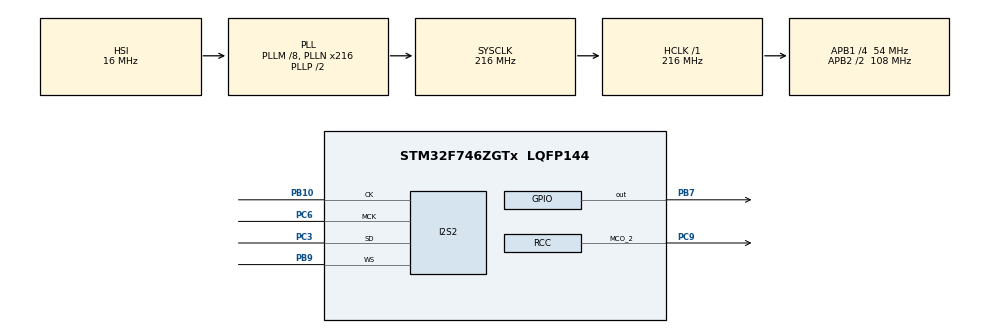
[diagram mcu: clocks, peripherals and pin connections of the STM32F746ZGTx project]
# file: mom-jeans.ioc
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CORTEX_M7.CPU_DCache=Disabled
CORTEX_M7.CPU_ICache=Disabled
CORTEX_M7.default_mode_Activation=1
Dma.Request0=SPI2_TX
Dma.SPI2_TX.0.Direction=DMA_MEMORY_TO_PERIPH
Dma.SPI2_TX.0.FIFOMode=DMA_FIFOMODE_DISABLE
Dma.SPI2_TX.0.Instance=DMA1_Stream4
Dma.SPI2_TX.0.MemDataAlignment=DMA_MDATAALIGN_HALFWORD
Dma.SPI2_TX.0.MemInc=DMA_MINC_ENABLE
Dma.SPI2_TX.0.Mode=DMA_CIRCULAR
Dma.SPI2_TX.0.PeriphDataAlignment=DMA_PDATAALIGN_HALFWORD
Dma.SPI2_TX.0.PeriphInc=DMA_PINC_DISABLE
Dma.SPI2_TX.0.Priority=DMA_PRIORITY_VERY_HIGH
I2S2.AudioFreq=I2S_AUDIOFREQ_22K
I2S2.DataFormat=I2S_DATAFORMAT_16B_EXTENDED
I2S2.ErrorAudioFreq=-0.38 %
I2S2.FullDuplexMode=I2S_FULLDUPLEXMODE_DISABLE
I2S2.Instance=SPI$Index
I2S2.RealAudioFreq=21.915 KHz
I2S2.VirtualMode=I2S_MODE_MASTER
Mcu.Family=STM32F7
Mcu.Name=STM32F746ZGTx
Mcu.Package=LQFP144
NVIC.DMA1_Stream4_IRQn=true\:0\:0\:false\:false\:true\:false\:true\:true
NVIC.PriorityGroup=NVIC_PRIORITYGROUP_4
PB10.Mode=Half_Duplex_Master
PB10.Signal=I2S2_CK
PB7.Signal=GPIO_Output
PB9.Mode=Half_Duplex_Master
PB9.Signal=I2S2_WS
PC3.Mode=Half_Duplex_Master
PC3.Signal=I2S2_SD
PC6.Mode=Master_Clock_Activated
PC6.Signal=I2S2_MCK
PC9.Mode=Clock-out-2
PC9.Signal=RCC_MCO_2
ProjectManager.HeapSize=0x200
ProjectManager.StackSize=0x400
ProjectManager.TargetToolchain=CMake
RCC.AHBFreq_Value=216000000
RCC.APB1CLKDivider=RCC_HCLK_DIV4
RCC.APB1Freq_Value=54000000
RCC.APB1TimFreq_Value=108000000
RCC.APB2CLKDivider=RCC_HCLK_DIV2
RCC.APB2Freq_Value=108000000
RCC.APB2TimFreq_Value=216000000
RCC.CortexFreq_Value=216000000
RCC.HCLKFreq_Value=216000000
RCC.HSE_VALUE=25000000
RCC.HSI_VALUE=16000000
RCC.LSE_VALUE=32768
RCC.PLLI2SN=216
RCC.PLLI2SR=7
RCC.PLLM=8
RCC.PLLN=216
RCC.RCC_MCO2Source=RCC_MCO2SOURCE_PLLI2SCLK
RCC.SYSCLKFreq_VALUE=216000000
RCC.SYSCLKSource=RCC_SYSCLKSOURCE_PLLCLK
RCC.USBFreq_Value=216000000
RCC.VCOOutputFreq_Value=432000000
board=custom

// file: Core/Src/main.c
/* USER CODE BEGIN Header */
/**
 ******************************************************************************
 * @file           : main.c
 * @brief          : Main program body
 ******************************************************************************
 * @attention
 *
 * Copyright (c) 2024 STMicroelectronics.
 * All rights reserved.
 *
 * This software is licensed under terms that can be found in the LICENSE file
 * in the root directory of this software component.
 * If no LICENSE file comes with this software, it is provided AS-IS.
 *
 ******************************************************************************
 */
/* USER CODE END Header */
#include "main.h"

/* USER CODE BEGIN Includes */
#include "math.h"
#include "pulsar.h"
/* USER CODE END Includes */

/* USER CODE BEGIN PD */
#define BUFFER_SIZE 1024
#define SAMPLE_RATE 48214
#define LED_PIN GPIO_PIN_7
#define LED_GPIO_PORT GPIOB
/* USER CODE END PD */

I2S_HandleTypeDef hi2s2;
DMA_HandleTypeDef hdma_spi2_tx;

/* USER CODE BEGIN PV */
__attribute__((aligned(32))) int16_t audioBuffer[BUFFER_SIZE];
volatile uint8_t halfBufferReady = 0;  // Flag for half buffer completion
volatile uint8_t fullBufferReady = 0;  // Flag for full buffer completion
volatile uint32_t readCounter = 0;
volatile uint32_t writeCounter = 0;
float phase = 0;
float frequency = 200;
ps_t pulsar;
/* USER CODE END PV */

void SystemClock_Config(void);
void PeriphCommonClock_Config(void);
static void MPU_Config(void);
static void MX_GPIO_Init(void);
static void MX_DMA_Init(void);
static void MX_I2S2_Init(void);
/* USER CODE BEGIN PFP */
void enableCycleCounter();
uint32_t getCycleCount();
void fillNoise(int16_t *buffer, int size);
float fillSine(int16_t *buffer, int size, float freq, float phase,
               float sr); // returns the phase for the next call
/* USER CODE END PFP */

int main(void)
{

  /* MPU Configuration--------------------------------------------------------*/
  MPU_Config();

  /* MCU Configuration--------------------------------------------------------*/

  /* Reset of all peripherals, Initializes the Flash interface and the Systick. */
  HAL_Init();

  /* USER CODE BEGIN Init */
  pulsar_init(&pulsar, SAMPLE_RATE);
  /* USER CODE END Init */

  /* Configure the system clock */
  SystemClock_Config();

  /* Configure the peripherals common clocks */
  PeriphCommonClock_Config();

  /* USER CODE BEGIN SysInit */
  // enableCycleCounter();
  /* USER CODE END SysInit */

  /* Initialize all configured peripherals */
  MX_GPIO_Init();
  MX_DMA_Init();
  MX_I2S2_Init();
  /* USER CODE BEGIN 2 */

  HAL_StatusTypeDef status = HAL_I2S_Transmit_DMA(&hi2s2, audioBuffer, BUFFER_SIZE);

  /* USER CODE END 2 */

  /* Infinite loop */
  /* USER CODE BEGIN WHILE */
  float scaleFactor = (1.0 / 256.0) * 32768;

DWT->CYCCNT = 0;  // Reset the cycle counter
uint32_t number1 = 100;
uint32_t number2 = 100;
uint32_t number3 = number1 + number2;  // Perform addition
uint32_t elapsed_cycles = DWT->CYCCNT;  // Read elapsed cycles
printf("Elapsed cycles: %lu\n", elapsed_cycles);

  while (1) {

    if (halfBufferReady) {

      pulsar_configure(&pulsar, 400, 0.8, 5.0, 0.0, 0, 0, 0);
      for (int i = 0; i < BUFFER_SIZE / 2; i+=2) {
        // DWT->CYCCNT = 0;  // Reset the cycle counter
        audioBuffer[i] = scaleFactor * pulsar_process(&pulsar, 400, 0);
        audioBuffer[i + 1] = audioBuffer[i];
        // uint32_t endCycles = DWT->CYCCNT;
        // printf("Cycles: %lu\n", endCycles);
      }

      halfBufferReady = 0;
      // SCB_CleanDCache_by_Addr((uint32_t *)audioBuffer, (BUFFER_SIZE / 2) * sizeof(uint16_t));
      writeCounter++;
    }

    if (fullBufferReady) {
      pulsar_configure(&pulsar, 400, 0.8, 5.0, 0.0, 0, 0, 0);
      for (int i = BUFFER_SIZE / 2; i < BUFFER_SIZE; i+=2) {
        audioBuffer[i] = scaleFactor * pulsar_process(&pulsar, 400, 0);
        audioBuffer[i + 1] = audioBuffer[i];
      }
      // SCB_CleanDCache_by_Addr((uint32_t *) &audioBuffer[BUFFER_SIZE / 2], (BUFFER_SIZE / 2) * sizeof(uint16_t));
      fullBufferReady = 0;
    }

    // turn on the LED if the write counter falls behind the read counter
    if (readCounter - writeCounter > 1) {
      HAL_GPIO_WritePin(LED_GPIO_PORT, LED_PIN, GPIO_PIN_SET);
    } else {
      HAL_GPIO_WritePin(LED_GPIO_PORT, LED_PIN, GPIO_PIN_RESET);
    }

    /* USER CODE END WHILE */

  }
}

void SystemClock_Config(void)
{
  RCC_OscInitTypeDef RCC_OscInitStruct = {0};
  RCC_ClkInitTypeDef RCC_ClkInitStruct = {0};

  /** Configure the main internal regulator output voltage
  */
  __HAL_RCC_PWR_CLK_ENABLE();
  __HAL_PWR_VOLTAGESCALING_CONFIG(PWR_REGULATOR_VOLTAGE_SCALE1);

  /** Initializes the RCC Oscillators according to the specified parameters
  * in the RCC_OscInitTypeDef structure.
  */
  RCC_OscInitStruct.OscillatorType = RCC_OSCILLATORTYPE_HSI;
  RCC_OscInitStruct.HSIState = RCC_HSI_ON;
  RCC_OscInitStruct.HSICalibrationValue = RCC_HSICALIBRATION_DEFAULT;
  RCC_OscInitStruct.PLL.PLLState = RCC_PLL_ON;
  RCC_OscInitStruct.PLL.PLLSource = RCC_PLLSOURCE_HSI;
  RCC_OscInitStruct.PLL.PLLM = 8;
  RCC_OscInitStruct.PLL.PLLN = 216;
  RCC_OscInitStruct.PLL.PLLP = RCC_PLLP_DIV2;
  RCC_OscInitStruct.PLL.PLLQ = 2;
  if (HAL_RCC_OscConfig(&RCC_OscInitStruct) != HAL_OK)
  {
    Error_Handler();
  }

  /** Activate the Over-Drive mode
  */
  if (HAL_PWREx_EnableOverDrive() != HAL_OK)
  {
    Error_Handler();
  }

  /** Initializes the CPU, AHB and APB buses clocks
  */
  RCC_ClkInitStruct.ClockType = RCC_CLOCKTYPE_HCLK|RCC_CLOCKTYPE_SYSCLK
                              |RCC_CLOCKTYPE_PCLK1|RCC_CLOCKTYPE_PCLK2;
  RCC_ClkInitStruct.SYSCLKSource = RCC_SYSCLKSOURCE_PLLCLK;
  RCC_ClkInitStruct.AHBCLKDivider = RCC_SYSCLK_DIV1;
  RCC_ClkInitStruct.APB1CLKDivider = RCC_HCLK_DIV4;
  RCC_ClkInitStruct.APB2CLKDivider = RCC_HCLK_DIV2;

  if (HAL_RCC_ClockConfig(&RCC_ClkInitStruct, FLASH_LATENCY_7) != HAL_OK)
  {
    Error_Handler();
  }
  HAL_RCC_MCOConfig(RCC_MCO2, RCC_MCO2SOURCE_PLLI2SCLK, RCC_MCODIV_1);
}

void PeriphCommonClock_Config(void)
{
  RCC_PeriphCLKInitTypeDef PeriphClkInitStruct = {0};

  /** Initializes the peripherals clock
  */
  PeriphClkInitStruct.PeriphClockSelection = RCC_PERIPHCLK_PLLI2S|RCC_PERIPHCLK_I2S;
  PeriphClkInitStruct.PLLI2S.PLLI2SN = 216;
  PeriphClkInitStruct.PLLI2S.PLLI2SP = RCC_PLLP_DIV2;
  PeriphClkInitStruct.PLLI2S.PLLI2SR = 7;
  PeriphClkInitStruct.PLLI2S.PLLI2SQ = 2;
  PeriphClkInitStruct.PLLI2SDivQ = 1;
  PeriphClkInitStruct.I2sClockSelection = RCC_I2SCLKSOURCE_PLLI2S;
  if (HAL_RCCEx_PeriphCLKConfig(&PeriphClkInitStruct) != HAL_OK)
  {
    Error_Handler();
  }
}

static void MX_I2S2_Init(void)
{

  hi2s2.Instance = SPI2;
  hi2s2.Init.Mode = I2S_MODE_MASTER_TX;
  hi2s2.Init.Standard = I2S_STANDARD_PHILIPS;
  hi2s2.Init.DataFormat = I2S_DATAFORMAT_16B_EXTENDED;
  hi2s2.Init.MCLKOutput = I2S_MCLKOUTPUT_ENABLE;
  hi2s2.Init.AudioFreq = I2S_AUDIOFREQ_22K;
  hi2s2.Init.CPOL = I2S_CPOL_LOW;
  hi2s2.Init.ClockSource = I2S_CLOCK_PLL;
  if (HAL_I2S_Init(&hi2s2) != HAL_OK)
  {
    Error_Handler();
  }
  /* USER CODE BEGIN I2S2_Init 2 */

  // __HAL_LINKDMA(&hi2s2, hdmatx, hdma_spi2_tx);

  /* USER CODE END I2S2_Init 2 */

}

static void MX_DMA_Init(void)
{

  /* DMA controller clock enable */
  __HAL_RCC_DMA1_CLK_ENABLE();

  /* DMA interrupt init */
  /* DMA1_Stream4_IRQn interrupt configuration */
  HAL_NVIC_SetPriority(DMA1_Stream4_IRQn, 0, 0);
  HAL_NVIC_EnableIRQ(DMA1_Stream4_IRQn);

}

static void MX_GPIO_Init(void)
{
  GPIO_InitTypeDef GPIO_InitStruct = {0};

  /* GPIO Ports Clock Enable */
  __HAL_RCC_GPIOC_CLK_ENABLE();
  __HAL_RCC_GPIOB_CLK_ENABLE();

  /*Configure GPIO pin Output Level */
  HAL_GPIO_WritePin(GPIOB, GPIO_PIN_7, GPIO_PIN_RESET);

  /*Configure GPIO pin : PC9 */
  GPIO_InitStruct.Pin = GPIO_PIN_9;
  GPIO_InitStruct.Mode = GPIO_MODE_AF_PP;
  GPIO_InitStruct.Pull = GPIO_NOPULL;
  GPIO_InitStruct.Speed = GPIO_SPEED_FREQ_LOW;
  GPIO_InitStruct.Alternate = GPIO_AF0_MCO;
  HAL_GPIO_Init(GPIOC, &GPIO_InitStruct);

  /*Configure GPIO pin : PB7 */
  GPIO_InitStruct.Pin = GPIO_PIN_7;
  GPIO_InitStruct.Mode = GPIO_MODE_OUTPUT_PP;
  GPIO_InitStruct.Pull = GPIO_NOPULL;
  GPIO_InitStruct.Speed = GPIO_SPEED_FREQ_LOW;
  HAL_GPIO_Init(GPIOB, &GPIO_InitStruct);

}

/* USER CODE BEGIN 4 */
void enableCycleCounter() {
    // // Enable the DWT unit
    // if (!(CoreDebug->DEMCR & CoreDebug_DEMCR_TRCENA_Msk)) {
    //     CoreDebug->DEMCR |= CoreDebug_DEMCR_TRCENA_Msk; // Enable trace and debug block
    // }

    // // Reset and enable the cycle counter
    // DWT->CYCCNT = 0;               // Reset the cycle counter
    // DWT->CTRL |= DWT_CTRL_CYCCNTENA_Msk; // Enable the cycle counter

    CoreDebug->DEMCR &= ~0x01000000;

    CoreDebug->DEMCR |=  0x01000000; // TRCENA

    DWT->LAR = 0xC5ACCE55; // unlock

    DWT->CYCCNT = 0; // reset the counter

    DWT->CTRL &= ~0x00000001;

    DWT->CTRL |=  0x00000001; // enable the counter
}

uint32_t getCycleCount() {
    return DWT->CYCCNT; // Return the current cycle count
}

void fillNoise(int16_t *buffer, int size) {}

float fillSine(int16_t *buffer, int size, float freq, float phase, float sr) {
  static float twopi = 2 * 3.14159;
  static float scaleFactor = (1.0 / 64.0) * 32768;
  float phaseIncrement = twopi * freq / sr;
  for (int i = 0; i < size; i += 2) {
    buffer[i] = scaleFactor * arm_sin_f32(phase);
    // buffer[i] = scaleFactor * sinf(phase);
    // arm_sin_f32(phase, &buffer[i]);
    buffer[i + 1] = buffer[i];
    phase += phaseIncrement;
  }

  if (phase > twopi) {
    phase -= twopi;
  }

  return phase;
}
// Callback for Half Transfer Complete
void HAL_I2S_TxHalfCpltCallback(I2S_HandleTypeDef *hi2s) {
  if (hi2s->Instance==SPI2) {
    halfBufferReady = 1;
    // SCB_InvalidateDCache_by_Addr((uint32_t *)audioBuffer, (BUFFER_SIZE / 2) * sizeof(uint16_t));
    readCounter++;
  }
  // audioBufferPtr = audioBuffer;
  // phase = fillSine(audioBufferPtr, BUFFER_SIZE / 2, 2000, phase, SAMPLE_RATE);
  // dataReady = 1;
}

// Callback for Full Transfer Complete
void HAL_I2S_TxCpltCallback(I2S_HandleTypeDef *hi2s) {
  if (hi2s->Instance==SPI2) {
    // SCB_InvalidateDCache_by_Addr((uint32_t *) &audioBuffer[BUFFER_SIZE / 2], (BUFFER_SIZE / 2) * sizeof(uint16_t));
    fullBufferReady = 1;
  }
  // audioBufferPtr = audioBuffer + BUFFER_SIZE / 2;
  // audioBufferPtr = audioBuffer;
  // phase = fillSine(audioBufferPtr, BUFFER_SIZE / 2, 2000, phase, SAMPLE_RATE);
  // dataReady = 1;
}

void HAL_I2S_ErrorCallback(I2S_HandleTypeDef *hi2s)
{
    uint32_t error = HAL_I2S_GetError(hi2s);
    // printf("I2S Error: %lu\n", error);
}
/* USER CODE END 4 */

 /* MPU Configuration */

void MPU_Config(void)
{
  MPU_Region_InitTypeDef MPU_InitStruct = {0};

  /* Disables the MPU */
  HAL_MPU_Disable();

  /** Initializes and configures the Region and the memory to be protected
  */
  MPU_InitStruct.Enable = MPU_REGION_ENABLE;
  MPU_InitStruct.Number = MPU_REGION_NUMBER0;
  MPU_InitStruct.BaseAddress = 0x0;
  MPU_InitStruct.Size = MPU_REGION_SIZE_4GB;
  MPU_InitStruct.SubRegionDisable = 0x87;
  MPU_InitStruct.TypeExtField = MPU_TEX_LEVEL0;
  MPU_InitStruct.AccessPermission = MPU_REGION_NO_ACCESS;
  MPU_InitStruct.DisableExec = MPU_INSTRUCTION_ACCESS_DISABLE;
  MPU_InitStruct.IsShareable = MPU_ACCESS_SHAREABLE;
  MPU_InitStruct.IsCacheable = MPU_ACCESS_NOT_CACHEABLE;
  MPU_InitStruct.IsBufferable = MPU_ACCESS_NOT_BUFFERABLE;

  HAL_MPU_ConfigRegion(&MPU_InitStruct);
  /* Enables the MPU */
  HAL_MPU_Enable(MPU_PRIVILEGED_DEFAULT);

}

void Error_Handler(void)
{
  __disable_irq();
  while (1) {
  }
}

#ifdef  USE_FULL_ASSERT
/**
  * @brief  Reports the name of the source file and the source line number
  *         where the assert_param error has occurred.
  * @param  file: pointer to the source file name
  * @param  line: assert_param error line source number
  * @retval None
  */
void assert_failed(uint8_t *file, uint32_t line)
{
  /* USER CODE BEGIN 6 */
  /* User can add his own implementation to report the file name and line
     number, ex: printf("Wrong parameters value: file %s on line %d\r\n", file,
     line) */
  /* USER CODE END 6 */
}
#endif /* USE_FULL_ASSERT */
